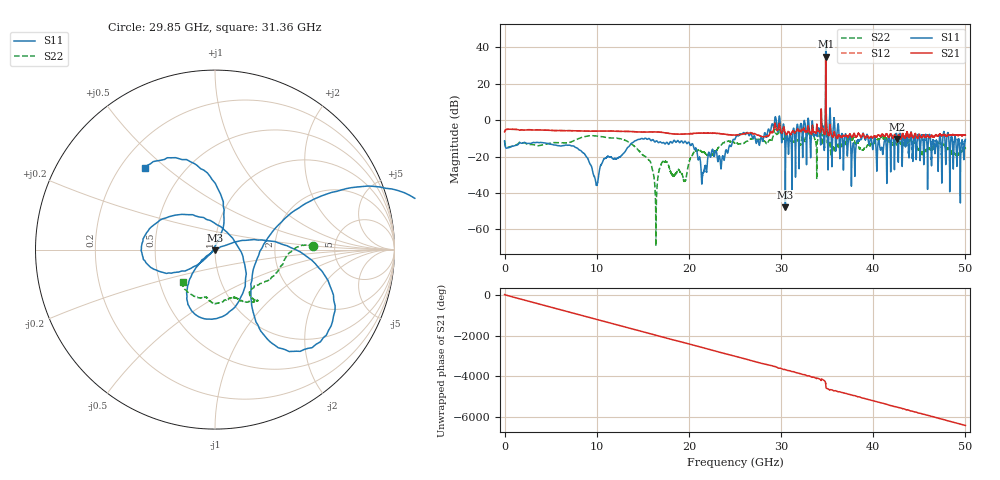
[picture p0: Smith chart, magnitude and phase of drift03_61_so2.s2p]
!Created with skrf (http://scikit-rf.org).
# Hz S RI R 50.0
!freq ReS11 ImS11 ReS21 ImS21 ReS12 ImS12 ReS22 ImS22
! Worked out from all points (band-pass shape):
!   10001 points, 300 kHz to 50 GHz, reference 50 ohm
!   highest |S21| = 34.82 dB at 34.85 GHz (marker M1); lowest = -10.4 dB at 42.56 GHz (marker M2)
!   |S21| within 3 dB of the highest: 34.84429 GHz to 34.8457 GHz (1.412 MHz wide, 0.00405 % of centre)
!   lowest |S11| = -47.9 dB at 30.47 GHz (marker M3), VSWR 1.01, Z = 49.8 - j0.35 ohm
!   |S11| at or under -10 dB: start of sweep to 15.23 GHz; 15.32 GHz to 25.05 GHz (9.734 GHz wide, 48.2 % of centre); 40.22 GHz to 41.61 GHz (1.392 GHz wide, 3.4 % of centre) (the widest 3 of 49)
!   |S22| runs from -69.2 to 25.8 dB; largest |S21 - S12| = 8
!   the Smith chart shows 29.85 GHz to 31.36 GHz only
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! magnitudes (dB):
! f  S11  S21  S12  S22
! 300 kHz  -11.4  -6.5  -6.5  -11.4
! 8.335 GHz  -17.1  -6.0  -6.0  -9.6
! 9.955 GHz  -35.7  -6.1  -6.1  -8.7
! 13.79 GHz  -12.6  -6.3  -6.3  -13.2
! 15.75 GHz  -10.4  -6.5  -6.5  -22.3
! 16.37 GHz  -11.9  -6.5  -6.5  -43.5
! 16.67 GHz  -12.4  -6.6  -6.5  -30.1
! 17.34 GHz  -12.8  -6.9  -6.9  -22.9
! 19.55 GHz  -11.6  -7.7  -7.7  -33.3
! 20.21 GHz  -13.9  -7.5  -7.5  -20.4
! 21.55 GHz  -28.7  -7.2  -7.2  -17.7
! 25 GHz  -10.6  -8.3  -8.2  -12.5
! 29.6 GHz  -5.5  -5.7  -5.9  -7.8
! 30.47 GHz  -47.9  -7.2  -7.2  -9.0
! 33.34 GHz  -3.8  -6.8  -6.7  -9.3
! 34.85 GHz  43.7  34.8  34.6  25.8
! 35.62 GHz  -7.1  -9.3  -9.1  -16.0
! 37.83 GHz  -12.7  -8.3  -8.3  -9.8
! 38.82 GHz  -8.5  -8.1  -8.1  -16.3
! 41.67 GHz  -9.2  -9.4  -9.4  -11.5
! 42.56 GHz  -8.2  -10.4  -10.5  -13.4
! 50 GHz  -10.6  -8.2  -8.3  -15.7
